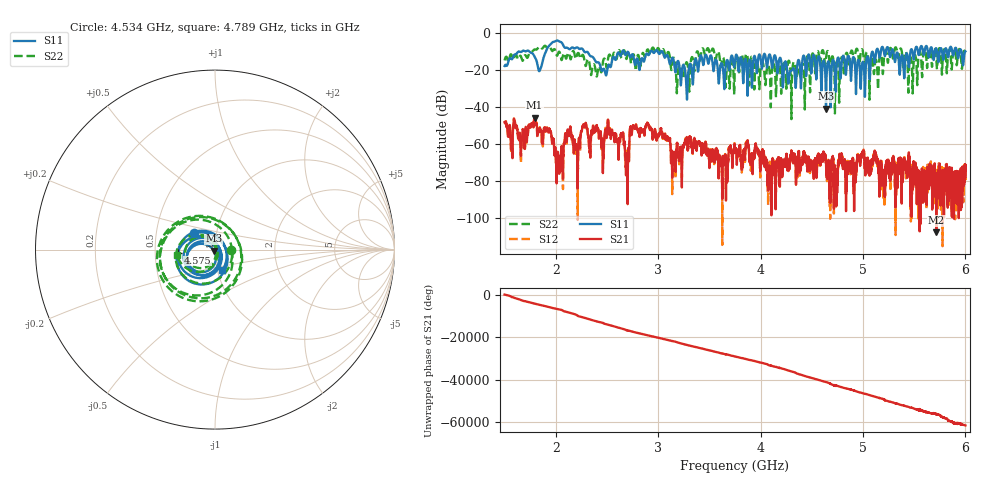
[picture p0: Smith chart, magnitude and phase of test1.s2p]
!Keysight Technologies N9923A: A.08.15
!Date: Tuesday, 20 February 2024 22:07:49
!Timezone: (GMT-05:00) Eastern Time (US & Canada)
!Model: N9923A
!Serial: MY52412730
!GPS Latitude:
!GPS Longitude:
!GPS TimeStamp: 0001-01-01 00:00:00Z
!GPS Seconds Since Last Read: 0
!CHECKSUM:1854465804
!Correction: S11(ON Q)S21(ON Q)S12(ON Q)S22(ON Q)
!S2P File: Measurements:S11,S21,S12,S22:
# Hz S DB R 50
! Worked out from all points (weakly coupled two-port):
!   10001 points, 1.5 GHz to 6 GHz, reference 50 ohm
!   highest |S21| = -45.85 dB at 1.792 GHz (marker M1); lowest = -107.4 dB at 5.716 GHz (marker M2)
!   lowest |S11| = -40.9 dB at 4.639 GHz (marker M3), VSWR 1.02, Z = 49.4 - j0.623 ohm
!   |S11| at or under -10 dB: 2.275 GHz to 2.651 GHz (375.8 MHz wide, 15.3 % of centre); 2.664 GHz to 2.927 GHz (263.2 MHz wide, 9.42 % of centre); 3.037 GHz to 5.13 GHz (2.093 GHz wide, 51.3 % of centre) (the widest 3 of 23)
!   |S22| runs from -46.6 to -7.1 dB; largest |S21 - S12| = 0.00048
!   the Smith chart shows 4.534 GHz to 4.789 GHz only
!   S11 on the Smith chart (normalised r, x): 4.534 GHz: 0.78, +0.15; 4.575 GHz: 0.66, -0.02; 4.789 GHz: 1.05, -0.25
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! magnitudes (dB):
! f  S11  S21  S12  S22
! 1.5 GHz  -18.0  -48.2  -48.8  -15.0
! 1.676 GHz  -9.8  -52.3  -52.5  -15.2
! 1.792 GHz  -12.9  -45.9  -46.1  -9.1
! 2.024 GHz  -4.5  -68.7  -68.2  -10.9
! 2.25 GHz  -8.5  -53.3  -53.0  -13.1
! 2.477 GHz  -20.4  -55.1  -55.9  -14.1
! 2.65 GHz  -10.1  -55.3  -55.8  -12.0
! 2.695 GHz  -10.8  -69.0  -66.9  -13.4
! 2.745 GHz  -11.8  -53.1  -53.3  -14.2
! 3 GHz  -10.9  -55.9  -55.6  -8.3
! 3.148 GHz  -14.3  -66.0  -70.3  -13.8
! 3.279 GHz  -34.4  -56.7  -56.6  -16.0
! 3.75 GHz  -14.9  -62.0  -62.0  -18.5
! 4.088 GHz  -11.7  -71.5  -71.8  -21.0
! 4.5 GHz  -18.7  -71.0  -70.4  -12.5
! 4.534 GHz  -16.6  -68.3  -68.7  -21.1
! 4.575 GHz  -13.7  -68.9  -70.5  -14.8
! 4.639 GHz  -40.9  -68.7  -69.5  -13.6
! 4.789 GHz  -18.3  -66.2  -66.3  -13.4
! 5.25 GHz  -9.3  -70.8  -72.4  -13.0
! 5.716 GHz  -8.5  -107.4  -80.1  -14.0
! 6 GHz  -10.1  -77.7  -76.7  -11.5
